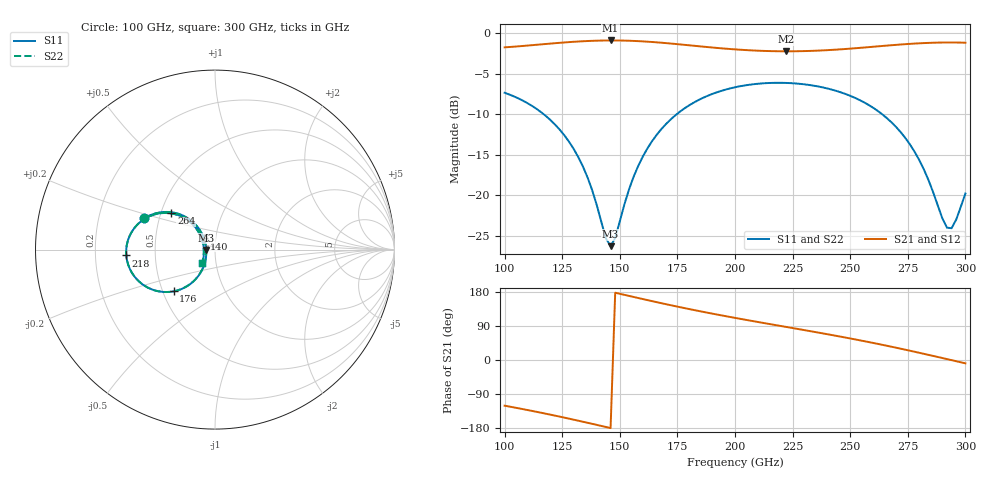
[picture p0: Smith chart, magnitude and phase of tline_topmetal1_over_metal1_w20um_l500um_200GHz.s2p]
#  GHZ S DB R 50
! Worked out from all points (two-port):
!   101 points, 100 GHz to 300 GHz, reference 50 ohm
!   highest |S21| = -0.87 dB at 146 GHz (marker M1); lowest = -2.2 dB at 222 GHz (marker M2)
!   |S21| within 3 dB of the highest: start of sweep to end of sweep
!   lowest |S11| = -26.3 dB at 146 GHz (marker M3), VSWR 1.10, Z = 45.4 - j0.253 ohm
!   |S11| at or under -10 dB: 117 GHz to 174.6 GHz (57.63 GHz wide, 39.5 % of centre); 263.9 GHz to end of sweep
!   |S22| runs from -26.1 to -6.1 dB; largest |S21 - S12| = 1e-13
!   S11 on the Smith chart (normalised r, x): 100 GHz: 0.41, +0.18; 140 GHz: 0.88, +0.11; 176 GHz: 0.57, -0.30; 218 GHz: 0.34, -0.03; 264 GHz: 0.57, +0.25; 300 GHz: 0.86, -0.13
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100  -7.33 156.1  -1.72 -120.5  -1.72 -120.5  -7.33 156.2
120  -10.73 136.2  -1.25 -144.4  -1.25 -144.4  -10.73 136.3
134  -16.45 127.5  -0.97 -162.9  -0.97 -162.9  -16.44 127.9
140  -21.22 134.6  -0.89 -171.2  -0.89 -171.2  -21.17 135.1
144  -25.35 159.2  -0.87 -176.8  -0.87 -176.8  -25.23 159.5
146  -26.30 -176.7  -0.87 -179.6  -0.87 -179.6  -26.15 -176.7
148  -25.28 -152.8  -0.87 177.6  -0.87 177.6  -25.16 -153.2
154  -19.28 -124.5  -0.90 169.1  -0.90 169.1  -19.25 -124.9
158  -16.37 -122.0  -0.95 163.6  -0.95 163.6  -16.36 -122.3
168  -11.84 -127.3  -1.15 150.0  -1.15 150.0  -11.83 -127.4
176  -9.69 -134.7  -1.35 139.6  -1.35 139.6  -9.69 -134.8
200  -6.66 -158.9  -1.97 111.2  -1.97 111.2  -6.65 -158.9
218  -6.10 -176.2  -2.20 91.7  -2.20 91.7  -6.10 -176.2
222  -6.12 180.0  -2.21 87.5  -2.21 87.5  -6.11 -180.0
234  -6.45 168.6  -2.15 74.7  -2.15 74.7  -6.45 168.7
250  -7.71 153.3  -1.88 56.8  -1.88 56.8  -7.71 153.4
264  -10.01 140.3  -1.55 40.0  -1.55 40.0  -10.01 140.4
268  -11.01 136.9  -1.45 34.9  -1.45 34.9  -11.01 137.1
280  -15.67 131.3  -1.22 19.0  -1.22 19.0  -15.65 131.6
292  -24.01 171.6  -1.12 2.4  -1.12 2.4  -23.86 171.8
294  -24.08 -169.1  -1.12 -0.4  -1.12 -0.4  -23.92 -169.3
300  -19.79 -133.8  -1.15 -8.8  -1.15 -8.8  -19.73 -134.3
